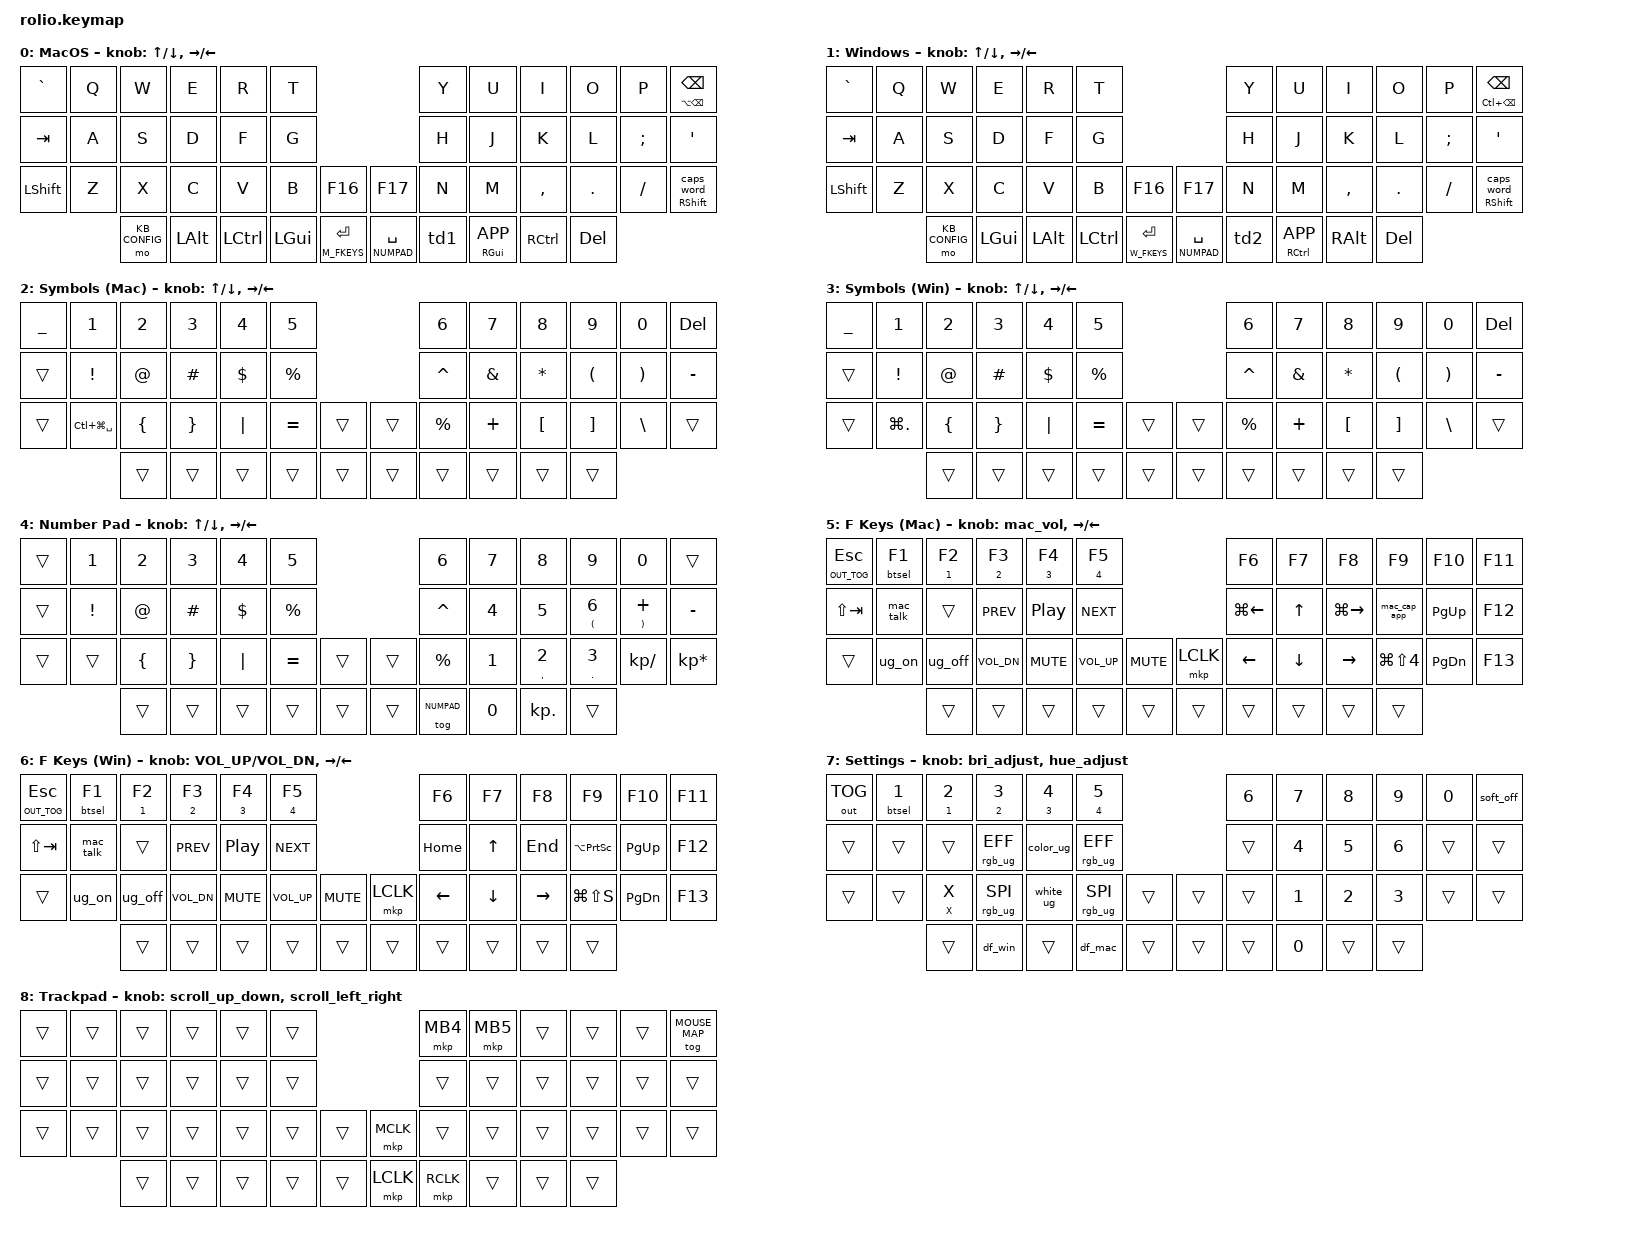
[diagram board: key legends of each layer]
/*
 * Copyright (c) 2023 The ZMK Contributors
 *
 * SPDX-License-Identifier: MIT
 */

#include <behaviors.dtsi>
#include <dt-bindings/zmk/keys.h>
#include <dt-bindings/zmk/bt.h>
#include <dt-bindings/zmk/outputs.h>
#include <dt-bindings/zmk/backlight.h>
#include "elpekenin/behaviors.dtsi"
#include <dt-bindings/zmk/rgb.h>

#define ZMK_POINTING_DEFAULT_SCRL_VAL 100
#include <dt-bindings/zmk/pointing.h>
#include <dt-bindings/zmk/mouse.h>

#include <behaviors/input_gestures_accel.dtsi>

// Helpful macros borrowed from AndrewMSHowe
#define ___ &trans

// Layer numbers for use by the keymap & macros
#define MACOS     0
#define WINDOWS   1
#define M_SYMBOLS 2
#define W_SYMBOLS 3
#define NUMPAD    4
#define M_FKEYS   5
#define W_FKEYS   6
#define KB_CONFIG 7
#define MOUSE_MAP 8

// Conifgure the pointer acceleration:
//
//     Relevant doc: https://github.com/oleksandrmaslov/zmk-pointing-acceleration
//
&pointer_accel {
    input-type = <INPUT_EV_REL>; // For relative input devices
    track-remainders;            // Accumulate fractional movements
    min-factor = <300>;          // 0.6x at very slow speeds
    max-factor = <5000>;         // 5x at fast speeds
    speed-threshold = <1500>;    // 1200 counts/sec for 1x
    speed-max = <4500>;          // 4500 counts/sec for max accel
    acceleration-exponent = <2>; // Quadratic acceleration curve
};

/ {

    behaviors {
        // Toggle Numbers layer
        td1: Toggle_Numpad_MacOS {
            display-name = "MacOS Symbols Tap Dance";
            compatible = "zmk,behavior-tap-dance";
            #binding-cells = <0>;
            tapping-term-ms = <300>;
            bindings = <&mo M_SYMBOLS>, <&tog NUMPAD>;
        };
        td2: Toggle_Numpad_Windows {
            display-name = "Windows Symbols Tap Dance";
            compatible = "zmk,behavior-tap-dance";
            #binding-cells = <0>;
            tapping-term-ms = <300>;
            bindings = <&mo W_SYMBOLS>, <&tog NUMPAD>;
        };
        //Backlight Brightness
        bri_adjust: Brightness_Scroller {
            label = "Scroller Brightness Adjust";
            compatible = "zmk,behavior-sensor-rotate";
            #sensor-binding-cells = <0>;
            bindings = <&rgb_ug RGB_BRI>, <&rgb_ug RGB_BRD>;
        };
        hue_adjust: Hue_Scroller {
            label = "Scroller Hue Adjust";
            compatible = "zmk,behavior-sensor-rotate";
            #sensor-binding-cells = <0>;
            bindings = <&rgb_ug RGB_HUI>, <&rgb_ug RGB_HUD>;
        };
        // Encoder to Mouse Scroll
        scroll_up_down: scroll_up_down {
            label = "Scroller As Vertical Mouse Wheel";
            compatible = "zmk,behavior-sensor-rotate";
            #sensor-binding-cells = <0>;
            bindings = <&msc SCRL_UP>, <&msc SCRL_DOWN>;
            tap-ms = <20>;
        };
        // Encoder to Mouse Scroll
        scroll_left_right: scroll_left_right {
            label = "Scroller As Horizontal Mouse Wheel";
            compatible = "zmk,behavior-sensor-rotate";
            #sensor-binding-cells = <0>;
            bindings = <&msc SCRL_RIGHT>, <&msc SCRL_LEFT>;
            tap-ms = <20>;
        };
        // Hold to choose BT profile or tap for key press
        btkp: btsel_or_kp {
            display-name = "Bluetooth Select Or Key Press";
            compatible = "zmk,behavior-hold-tap";
            #binding-cells = <2>;
            flavor = "tap-preferred";
            tapping-term-ms = <200>;
            quick-tap-ms = <200>;
            require-prior-idle-ms = <125>;
            bindings = <&btsel>, <&kp>;
        };
        // Hold to select output or tap for key press
        usb_tog: usb_tog {
            display-name = "Set Output Or Key Press";
            compatible = "zmk,behavior-hold-tap";
            #binding-cells = <2>;
            flavor = "tap-preferred";
            tapping-term-ms = <200>;
            quick-tap-ms = <200>;
            require-prior-idle-ms = <125>;
            bindings = <&out>, <&kp>;
        };
        // Hold to clear BT connection or tap for key press
        btclr_kp: btclr_kp {
            display-name = "Bluetooth Profile Clear Or Key Press";
            compatible = "zmk,behavior-hold-tap";
            #binding-cells = <2>;
            flavor = "tap-preferred";
            tapping-term-ms = <2000>;
            bindings = <&btclrmacro>, <&kp>;
        };
        // Small volume steps for MacOS
        mac_vol: Mac_Volume_Scroller {
            label = "Scroller MacOS Small Volume Steps";
            compatible = "zmk,behavior-sensor-rotate";
            #sensor-binding-cells = <0>;
            bindings = <&kp LS(LA(C_VOL_UP))>, <&kp LS(LA(C_VOL_DN))>;
        };
        // Behave like "mod-tap" without the keyrepeat
        mtos: mtos {
            display-name = "Mod-Tap (No Repeat)";
            compatible = "zmk,behavior-hold-tap";
            tapping-term-ms = <135>;
            #binding-cells = <2>;
            flavor = "tap-preferred";
            bindings = <&kpss>, <&kp>;
        };
        // Shift / Capsword
         scw: scw {
            display-name = "Hold Shift / Tap Capsword";
            compatible = "zmk,behavior-hold-tap";
            #binding-cells = <2>;
            flavor = "hold-preferred";
            tapping-term-ms = <200>;
            bindings = <&kp>, <&caps_word>;
        };
    };

    macros{
        // Select bluetooth profile helper  for behaviours
        btsel: btsel {
            display-name = "Bluetooth Profile Select";
            compatible = "zmk,behavior-macro-one-param";
            #binding-cells = <1>;
            bindings = <&macro_param_1to2>
                , <&bt BT_SEL MACRO_PLACEHOLDER>;
        };
        // Select bluetooth profile helper  for behaviours
        btclrmacro: btclrmacro {
            display-name = "Bluetooth Profile Clear";
            compatible = "zmk,behavior-macro-one-param";
            #binding-cells = <1>;
            bindings = <&bt BT_CLR>;
        };
        // Utilities so that Studio's use of "df" looks nice
        df_mac: df_mac {
            display-name = "Set Connection Default Layer to MacOS";
            compatible = "zmk,behavior-macro";
            #binding-cells = <0>;
            bindings = <&df MACOS>;
        };
        df_win: df_win {
            display-name = "Set Connection Default Layer to Windows";
            compatible = "zmk,behavior-macro";
            #binding-cells = <0>;
            bindings = <&df WINDOWS>;
        };
        // Toggle Backlight
        ug_on: ug_on {
            display-name = "Underglow On";
            compatible = "zmk,behavior-macro";
            #binding-cells = <0>;
            bindings = <&bl BL_ON>, <&rgb_ug RGB_ON>;
        };
        ug_off: ug_off {
            display-name = "Underglow Off";
            compatible = "zmk,behavior-macro";
            #binding-cells = <0>;
            bindings = <&bl BL_OFF>, <&rgb_ug RGB_OFF>;
        };
        // White Backlight
        white_ug: white_ug {
            display-name = "White Underglow";
            compatible = "zmk,behavior-macro";
            #binding-cells = <0>;
            bindings
                = <&bl BL_ON>
                , <&rgb_ug RGB_ON>
                , <&rgb_ug RGB_COLOR_HSB(0, 0, 49)>
                ;
        };
        // Colorful Backlight
        color_ug: color_ug {
            display-name = "Colorful Underglow";
            compatible = "zmk,behavior-macro";
            #binding-cells = <0>;
            bindings
                = <&bl BL_ON>
                , <&rgb_ug RGB_ON>
                , <&rgb_ug RGB_COLOR_HSB(304, 100, 69)>
                ;
        };
        // Invoke MacOS dictation
        mac_talk: mac_talk {
            display-name = "MacOS Dictation";
            compatible = "zmk,behavior-macro";
            #binding-cells = <0>;
            bindings
                = <&kp GLOBE>
                , <&macro_wait_time 125>
                , <&kp GLOBE>
                ;
        };
        // MacOS Screenshot Current App
        mac_cap_app: mac_cap_app {
            display-name = "MacOS Screenshot App";
            compatible = "zmk,behavior-macro";
            #binding-cells = <0>;
            tap-ms = <70>;
            bindings
                = <&macro_tap &kp LG(LS(N4))>
                , <&macro_wait_time 300>
                , <&macro_tap &kp SPACE>
                , <&macro_wait_time 300>
                , <&macro_tap &mkp LCLK>
                ;
        };
        // Macro KP
        kpss: kpss {
            display-name = "Key Press (No Repeat)";
            compatible = "zmk,behavior-macro-one-param";
            #binding-cells = <1>;
            bindings = <&macro_param_1to1>
                , <&macro_tap &kp MACRO_PLACEHOLDER>;
        };
    };

    // Translate trackpad movement to mouse wheel movement
    to_wheel: to_wheel {
        compatible = "zmk,input-processor-code-mapper";
        #input-processor-cells = <0>;
        type = <INPUT_EV_REL>;
        map = <INPUT_REL_X INPUT_REL_HWHEEL>
            , <INPUT_REL_Y INPUT_REL_WHEEL>;
    };

    // Customise the trackpad behaviour for different layers
    glidepoint_listener {
        compatible = "zmk,input-listener";
        device = <&glidepoint_split>;
        input-processors = <&zip_xy_scaler 4 1>
            , <&zip_xy_transform (INPUT_TRANSFORM_XY_SWAP)>
            , <&pointer_accel>
            , <&zip_temp_layer MOUSE_MAP 1200>;

        scroll_for_fkeys {
            layers = <M_FKEYS>, <W_FKEYS>;
            input-processors = <&zip_xy_scaler 1 20>
                , <&zip_xy_transform (INPUT_TRANSFORM_XY_SWAP)>
                , <&to_wheel>
                , <&zip_scroll_transform (INPUT_TRANSFORM_Y_INVERT)>;
        };
    };

    keymap {
        compatible = "zmk,keymap";

        default_layer {
            display-name = "MacOS";
            sensor-bindings = <&inc_dec_kp UP DOWN &inc_dec_kp RIGHT LEFT>;
            bindings = <
// ╭───────────────┬───────────────┬───────────────┬───────────────┬───────────────┬───────────────╮                                 ╭───────────────┬───────────────┬───────────────┬───────────────┬───────────────┬───────────────╮
       &kp GRAVE      &kp Q            &kp W           &kp E           &kp R           &kp T     /*|                                 |*/  &kp Y          &kp U           &kp I           &kp O           &kp P          &mt LA(BSPC) BSPC
       &kp TAB        &kp A            &kp S           &kp D           &kp F           &kp G     /*├─────────────╮     ╭─────────────┤*/  &kp H          &kp J           &kp K           &kp L           &kp SEMI       &kp SQT
       &kp LSHIFT     &kp Z            &kp X           &kp C           &kp V           &kp B           &kp F16             &kp F17        &kp N          &kp M           &kp COMMA       &kp DOT         &kp FSLH       &scw RSHIFT 0
/* ╰───────────────┴───────────────┤*/ &mo KB_CONFIG   &kp LALT        &kp LCTRL       &kp LGUI   &lt M_FKEYS ENTER   &lt NUMPAD SPACE    &td1           &mt RGUI K_APP  &kp RCTRL       &kp DEL   //├───────────────┴───────────────╯
//                                 ╰───────────────┴───────────────┴───────────────┴───────────────┴─────────────╯     ╰─────────────┴───────────────┴───────────────┴───────────────┴───────────────╯
            >;
        };

        windows_default_layer {
            display-name = "Windows";
            sensor-bindings = <&inc_dec_kp UP DOWN &inc_dec_kp RIGHT LEFT>;
            bindings = <
// ╭───────────────┬───────────────┬───────────────┬───────────────┬───────────────┬───────────────╮                                 ╭───────────────┬───────────────┬───────────────┬───────────────┬───────────────┬───────────────╮
       &kp GRAVE      &kp Q            &kp W           &kp E           &kp R           &kp T     /*|                                 |*/  &kp Y          &kp U           &kp I           &kp O           &kp P          &mt LC(BSPC) BSPC
       &kp TAB        &kp A            &kp S           &kp D           &kp F           &kp G     /*├─────────────╮     ╭─────────────┤*/  &kp H          &kp J           &kp K           &kp L           &kp SEMI       &kp SQT
       &kp LSHIFT     &kp Z            &kp X           &kp C           &kp V           &kp B           &kp F16             &kp F17        &kp N          &kp M           &kp COMMA       &kp DOT         &kp FSLH       &scw RSHIFT 0
/* ╰───────────────┴───────────────┤*/ &mo KB_CONFIG   &kp LGUI        &kp LALT        &kp LCTRL   &lt W_FKEYS ENTER   &lt NUMPAD SPACE   &td2        &mt RCTRL K_APP    &kp RALT        &kp DEL   //├───────────────┴───────────────╯
//                                 ╰───────────────┴───────────────┴───────────────┴───────────────┴─────────────╯     ╰─────────────┴───────────────┴───────────────┴───────────────┴───────────────╯
            >;
        };

        macos_symbols_layer {
            display-name = "Symbols (Mac)";
            sensor-bindings = <&inc_dec_kp UP DOWN &inc_dec_kp RIGHT LEFT>;
            bindings = <
// ╭───────────────┬───────────────┬───────────────┬───────────────┬───────────────┬───────────────╮                                 ╭───────────────┬───────────────┬───────────────┬───────────────┬───────────────┬───────────────╮
       &kp UNDER       &kp N1          &kp N2          &kp N3          &kp N4          &kp N5    /*|                                 |*/  &kp N6         &kp N7          &kp N8          &kp N9          &kp N0          &kp DEL
       ___             &kp EXCL        &kp AT          &kp HASH        &kp DLLR        &kp PRCNT /*├─────────────╮     ╭─────────────┤*/  &kp CARET      &kp AMPERSAND   &kp STAR        &kp LPAR        &kp RPAR        &kp MINUS
       ___         &kp LC(LG(SPACE))   &kp LEFT_BRACE  &kp RIGHT_BRACE &kp PIPE        &kp EQUAL       ___                 ___            &kp PRCNT      &kp PLUS        &kp LBKT        &kp RBKT        &kp BACKSLASH   ___
/* ╰───────────────┴───────────────┤*/ ___             ___             ___             ___             ___                 ___            ___            ___             ___             ___       //├───────────────┴───────────────╯
//                                 ╰───────────────┴───────────────┴───────────────┴───────────────┴─────────────╯     ╰─────────────┴───────────────┴───────────────┴───────────────┴───────────────╯
            >;
        };

        windows_symbols_layer {
            display-name = "Symbols (Win)";
            sensor-bindings = <&inc_dec_kp UP DOWN &inc_dec_kp RIGHT LEFT>;
            bindings = <
// ╭───────────────┬───────────────┬───────────────┬───────────────┬───────────────┬───────────────╮                                 ╭───────────────┬───────────────┬───────────────┬───────────────┬───────────────┬───────────────╮
       &kp UNDER       &kp N1          &kp N2          &kp N3          &kp N4          &kp N5    /*|                                 |*/  &kp N6         &kp N7          &kp N8          &kp N9          &kp N0          &kp DEL
       ___             &kp EXCL        &kp AT          &kp HASH        &kp DLLR        &kp PRCNT /*├─────────────╮     ╭─────────────┤*/  &kp CARET      &kp AMPERSAND   &kp STAR        &kp LPAR        &kp RPAR        &kp MINUS
       ___             &kp LG(DOT)     &kp LEFT_BRACE  &kp RIGHT_BRACE &kp PIPE        &kp EQUAL       ___                 ___            &kp PRCNT      &kp PLUS        &kp LBKT        &kp RBKT        &kp BACKSLASH   ___
/* ╰───────────────┴───────────────┤*/ ___             ___             ___             ___             ___                 ___            ___            ___             ___             ___       //├───────────────┴───────────────╯
//                                 ╰───────────────┴───────────────┴───────────────┴───────────────┴─────────────╯     ╰─────────────┴───────────────┴───────────────┴───────────────┴───────────────╯
            >;
        };

        numpad_layer {
            display-name = "Number Pad";
            sensor-bindings = <&inc_dec_kp UP DOWN &inc_dec_kp RIGHT LEFT>;
            bindings = <
// ╭───────────────┬───────────────┬───────────────┬───────────────┬───────────────┬───────────────╮                                 ╭───────────────┬───────────────┬───────────────┬───────────────┬───────────────┬───────────────╮
       ___             &kp N1          &kp N2          &kp N3          &kp N4          &kp N5    /*|                                 |*/    &kp N6         &kp N7          &kp N8          &kp N9          &kp N0          ___ 
       ___             &kp EXCL        &kp AT          &kp HASH        &kp DLLR        &kp PRCNT /*├─────────────╮     ╭─────────────┤*/  &kp CARET      &kp N4          &kp N5          &mt LPAR N6     &mt RPAR PLUS   &kp MINUS
       ___             ___             &kp LEFT_BRACE  &kp RIGHT_BRACE &kp PIPE        &kp EQUAL       ___                 ___            &kp PRCNT      &kp N1          &mt COMMA N2    &mt DOT N3      &kp KP_DIVIDE   &kp KP_MULTIPLY
/* ╰───────────────┴───────────────┤*/ ___             ___             ___             ___             ___                 ___            &tog NUMPAD    &kp N0          &kp KP_DOT      ___       //├───────────────┴───────────────╯
//                                 ╰───────────────┴───────────────┴───────────────┴───────────────┴─────────────╯     ╰─────────────┴───────────────┴───────────────┴───────────────┴───────────────╯
            >;
      };


        macos_f_keys_layer {
            display-name = "F Keys (Mac)";
            sensor-bindings = <&mac_vol &inc_dec_kp RIGHT LEFT>;
            bindings = <
// ╭───────────────┬───────────────┬───────────────┬───────────────┬───────────────┬────────────────╮                                 ╭───────────────┬───────────────┬───────────────┬───────────────┬───────────────┬───────────────╮
  &usb_tog OUT_TOG ESCAPE &btkp 0 F1   &btkp 1 F2      &btkp 2 F3      &btkp 3 F4      &btkp 4 F5 /*|                                 |*/   &kp F6         &kp F7          &kp F8          &kp F9          &kp F10         &kp F11
      &kp LS(TAB)      &mac_talk       ___             &kp C_PREV      &kp C_PP        &kp C_NEXT /*├─────────────╮     ╭─────────────┤*/   &kp LG(LEFT)   &kp UP          &kp LG(RIGHT)   &mac_cap_app    &kp PG_UP       &kp F12
      ___              &ug_on          &ug_off         &kp C_VOL_DN    &kp C_MUTE      &kp C_VOL_UP     &kp C_MUTE         &mkp LCLK        &kp LEFT       &kp DOWN        &kp RIGHT       &kp LG(LS(N4))  &kp PG_DN       &kp F13
/* ╰───────────────┴───────────────┤*/ ___             ___             ___             ___              ___                ___              ___            ___             ___             ___      //├───────────────┴───────────────╯
//                                 ╰───────────────┴───────────────┴───────────────┴────────────────┴─────────────╯     ╰─────────────┴───────────────┴───────────────┴───────────────┴───────────────╯
            >;
        };

        windows_f_keys_layer {
            display-name = "F Keys (Win)";
            sensor-bindings = <&inc_dec_kp C_VOL_UP C_VOL_DN &inc_dec_kp RIGHT LEFT>;
            bindings = <
// ╭───────────────┬───────────────┬───────────────┬───────────────┬───────────────┬────────────────╮                                 ╭───────────────┬───────────────┬───────────────┬───────────────┬───────────────┬───────────────╮
  &usb_tog OUT_TOG ESCAPE &btkp 0 F1   &btkp 1 F2      &btkp 2 F3      &btkp 3 F4      &btkp 4 F5 /*|                                 |*/   &kp F6         &kp F7          &kp F8          &kp F9          &kp F10         &kp F11
      &kp LS(TAB)      &mac_talk       ___             &kp C_PREV      &kp C_PP        &kp C_NEXT /*├─────────────╮     ╭─────────────┤*/   &kp HOME       &kp UP          &kp END         &kp LA(PSCRN)   &kp PG_UP       &kp F12
      ___              &ug_on          &ug_off         &kp C_VOL_DN    &kp C_MUTE      &kp C_VOL_UP    &kp C_MUTE          &mkp LCLK        &kp LEFT       &kp DOWN        &kp RIGHT       &kp LG(LS(S))   &kp PG_DN       &kp F13
/* ╰───────────────┴───────────────┤*/ ___             ___             ___             ___             ___                 ___              ___            ___             ___             ___      //├───────────────┴───────────────╯
//                                 ╰───────────────┴───────────────┴───────────────┴────────────────┴─────────────╯     ╰─────────────┴───────────────┴───────────────┴───────────────┴───────────────╯
            >;

        };


      settings_layer {
            display-name = "Settings";
            sensor-bindings = <&bri_adjust &hue_adjust>;
            bindings = <
// ╭───────────────┬───────────────┬───────────────┬───────────────┬───────────────┬────────────────╮                                 ╭───────────────┬───────────────┬───────────────┬───────────────┬───────────────┬───────────────╮
      &out OUT_TOG     &btkp 0 N1      &btkp 1 N2      &btkp 2 N3      &btkp 3 N4     &btkp 4 N5  /*|                                 |*/   &kp N6         &kp N7          &kp N8          &kp N9          &kp N0          &soft_off
      ___              ___             ___             &rgb_ug RGB_EFF &color_ug  &rgb_ug RGB_EFF /*├─────────────╮     ╭─────────────┤*/   ___            &kp N4          &kp N5          &kp N6          ___             ___
      ___              ___             &btclr_kp X X   &rgb_ug RGB_SPI &white_ug      &rgb_ug RGB_SPI   ___                  ___            ___            &kp N1          &kp N2          &kp N3          ___             ___
/* ╰───────────────┴───────────────┤*/ ___             &df_win         ___            &df_mac           ___                  ___            ___            &kp N0          ___             ___      //├───────────────┴───────────────╯
//                                 ╰───────────────┴───────────────┴───────────────┴────────────────┴─────────────╯     ╰─────────────┴───────────────┴───────────────┴───────────────┴───────────────╯   
            >;
        };

        mouse_layer {
            display-name = "Trackpad";
            sensor-bindings = <&scroll_up_down &scroll_left_right>;
            bindings = <
// ╭───────────────┬───────────────┬───────────────┬───────────────┬───────────────┬────────────────╮                                 ╭───────────────┬───────────────┬───────────────┬───────────────┬───────────────┬───────────────╮
      ___              ___             ___             ___             ___             ___        /*|                                 |*/   &mkp MB4       &mkp MB5        ___             ___             ___           &tog MOUSE_MAP 
      ___              ___             ___             ___             ___             ___        /*├─────────────╮     ╭─────────────┤*/   ___            ___             ___             ___             ___           ___
      ___              ___             ___             ___             ___             ___             ___                 &mkp MCLK        ___            ___             ___             ___             ___           ___
/* ╰───────────────┴───────────────┤*/ ___             ___             ___             ___             ___                 &mkp LCLK        &mkp RCLK      ___             ___             ___      //├───────────────┴───────────────╯
//                                 ╰───────────────┴───────────────┴───────────────┴────────────────┴─────────────╯     ╰─────────────┴───────────────┴───────────────┴───────────────┴───────────────╯
            >;

        };

        // Extra layers for ZMK Studio
        extra1 {
            status = "reserved";
        };
        extra2 {
            status = "reserved";
        };
        extra3 {
            status = "reserved";
        };

    };

};
